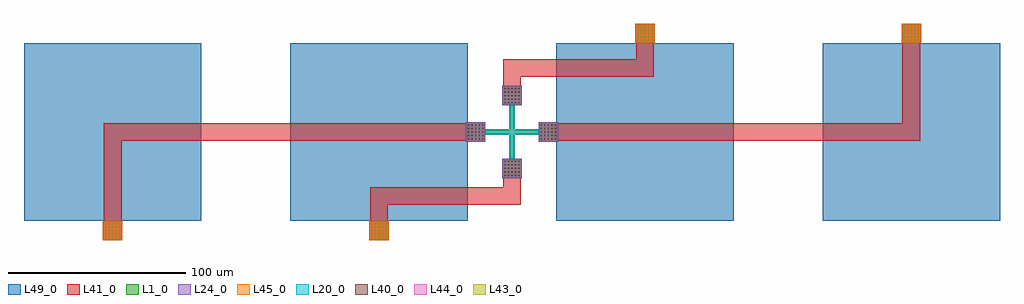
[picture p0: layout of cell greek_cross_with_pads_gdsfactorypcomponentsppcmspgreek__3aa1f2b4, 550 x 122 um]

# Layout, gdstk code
import gdstk
lib = gdstk.Library(unit=1e-6, precision=1e-09)
def R(c, l, rs):  # rectangles x0, y0, x1, y1
    for r in rs: c.add(gdstk.rectangle(r[:2], r[2:], *l))
def A(c, l, x, y, w, h, nx, ny, dx, dy):  # array of equal rectangles
    R(c, l, [(x+i*dx, y+j*dy, x+i*dx+w, y+j*dy+h) for i in range(nx) for j in range(ny)])
def P(c, l, *ps):  # polygons
    for p in ps: c.add(gdstk.Polygon(p, *l))
L1_0 = (1, 0)
L20_0 = (20, 0)
L24_0 = (24, 0)
L40_0 = (40, 0)
L41_0 = (41, 0)
L43_0 = (43, 0)
L44_0 = (44, 0)
L45_0 = (45, 0)
L49_0 = (49, 0)

greek_cross_gdsfactorypc = lib.new_cell('greek_cross_gdsfactorypcomponentsppcmspgreek_cross_L30__65b5a1f3')
P(greek_cross_gdsfactorypc, L1_0, [(-5.5,-26),(-5.5,-15),(-1,-15),(-1,-1),(-15,-1),(-15,-5.5),(-26,-5.5),(-26,5.5),(-15,5.5),(-15,1),(-1,1),(-1,15),(-5.5,15),(-5.5,26),(5.5,26),(5.5,15),(1,15),(1,1),(15,1),(15,5.5),(26,5.5),(26,-5.5),(15,-5.5),(15,-1),(1,-1),(1,-15),(5.5,-15),(5.5,-26)])
P(greek_cross_gdsfactorypc, L20_0, [(-1.5,-15),(-1.5,-1.5),(-15,-1.5),(-15,1.5),(-1.5,1.5),(-1.5,15),(1.5,15),(1.5,1.5),(15,1.5),(15,-1.5),(1.5,-1.5),(1.5,-15)])
R(greek_cross_gdsfactorypc, L24_0, [(-5.5,-26,5.5,-15), (-26,-5.5,-15,5.5), (15,-5.5,26,5.5), (-5.5,15,5.5,26)])
A(greek_cross_gdsfactorypc, L40_0, -4.35, -24.85, 0.7, 0.7, 5, 5, 2, 2)
A(greek_cross_gdsfactorypc, L40_0, -24.85, -4.35, 0.7, 0.7, 5, 5, 2, 2)
A(greek_cross_gdsfactorypc, L40_0, 16.15, -4.35, 0.7, 0.7, 5, 5, 2, 2)
A(greek_cross_gdsfactorypc, L40_0, -4.35, 16.15, 0.7, 0.7, 5, 5, 2, 2)
R(greek_cross_gdsfactorypc, L41_0, [(-5.5,-26,5.5,-15), (-26,-5.5,-15,5.5), (15,-5.5,26,5.5), (-5.5,15,5.5,26)])

pad_gdsfactorypcomponent = lib.new_cell('pad_gdsfactorypcomponentsppadsppad_S100_100_LMTOP_BLNon_457de54c')
R(pad_gdsfactorypcomponent, L49_0, [(-50,-50,50,50)])

compass_gdsfactorypcompo = lib.new_cell('compass_gdsfactorypcomponentspshapespcompass_S11_11_LM1_4b943683')
R(compass_gdsfactorypcompo, L41_0, [(-5.5,-5.5,5.5,5.5)])

c_compass_gdsfactorypcompo = lib.new_cell('compass_gdsfactorypcomponentspshapespcompass_S11_11_LM2_786eb8ce')
R(c_compass_gdsfactorypcompo, L45_0, [(-5.5,-5.5,5.5,5.5)])

c_compass_gdsfactorypcompo_ = lib.new_cell('compass_gdsfactorypcomponentspshapespcompass_S11_11_LM3_4637d102')
R(c_compass_gdsfactorypcompo_, L49_0, [(-5.5,-5.5,5.5,5.5)])

via_gdsfactorypcomponent = lib.new_cell('via_gdsfactorypcomponentspviaspvia_S0p7_0p7_E1_LVIA1_BL_0068d91e')
R(via_gdsfactorypcomponent, L44_0, [(-0.35,-0.35,0.35,0.35)])

c_via_gdsfactorypcomponent = lib.new_cell('via_gdsfactorypcomponentspviaspvia_S0p7_0p7_E1_LVIA2_BL_c51b5ebb')
R(c_via_gdsfactorypcomponent, L43_0, [(-0.35,-0.35,0.35,0.35)])

via_stack_gdsfactorypcom = lib.new_cell('via_stack_gdsfactorypcomponentspviaspvia_stack_S11_11_L_11859c3a')
via_stack_gdsfactorypcom.add(gdstk.Reference(compass_gdsfactorypcompo, (0,0)))
via_stack_gdsfactorypcom.add(gdstk.Reference(c_compass_gdsfactorypcompo, (0,0)))
via_stack_gdsfactorypcom.add(gdstk.Reference(c_compass_gdsfactorypcompo_, (0,0)))
r = gdstk.Reference(via_gdsfactorypcomponent, (-4,-4)); r.repetition = gdstk.Repetition(5, 5, v1=(2,0), v2=(0,2)); via_stack_gdsfactorypcom.add(r)
r = gdstk.Reference(c_via_gdsfactorypcomponent, (-4,-4)); r.repetition = gdstk.Repetition(5, 5, v1=(2,0), v2=(0,2)); via_stack_gdsfactorypcom.add(r)

greek_cross_with_pads_gd = lib.new_cell('greek_cross_with_pads_gdsfactorypcomponentsppcmspgreek__3aa1f2b4')
P(greek_cross_with_pads_gd, L41_0, [(45,-50),(45,5),(249,5),(249,-5),(55,-5),(55,-50)],
  [(195,-50),(195,-31),(270,-31),(270,-26),(280,-26),(280,-41),(205,-41),(205,-50)],
  [(270,26),(270,41),(345,41),(345,50),(355,50),(355,31),(280,31),(280,26)],
  [(301,-5),(301,5),(495,5),(495,50),(505,50),(505,-5)])
greek_cross_with_pads_gd.add(gdstk.Reference(greek_cross_gdsfactorypc, (275,0)))
greek_cross_with_pads_gd.add(gdstk.Reference(pad_gdsfactorypcomponent, (50,0)))
greek_cross_with_pads_gd.add(gdstk.Reference(via_stack_gdsfactorypcom, (50,-55.5)))
greek_cross_with_pads_gd.add(gdstk.Reference(pad_gdsfactorypcomponent, (200,0)))
greek_cross_with_pads_gd.add(gdstk.Reference(via_stack_gdsfactorypcom, (200,-55.5)))
greek_cross_with_pads_gd.add(gdstk.Reference(pad_gdsfactorypcomponent, (350,0)))
greek_cross_with_pads_gd.add(gdstk.Reference(via_stack_gdsfactorypcom, (350,55.5)))
greek_cross_with_pads_gd.add(gdstk.Reference(pad_gdsfactorypcomponent, (500,0)))
greek_cross_with_pads_gd.add(gdstk.Reference(via_stack_gdsfactorypcom, (500,55.5)))

lib.write_gds('greek_cross_with_pads_gdsfactorypcomponentsppcmspgreek__3aa1f2b4.gds')
